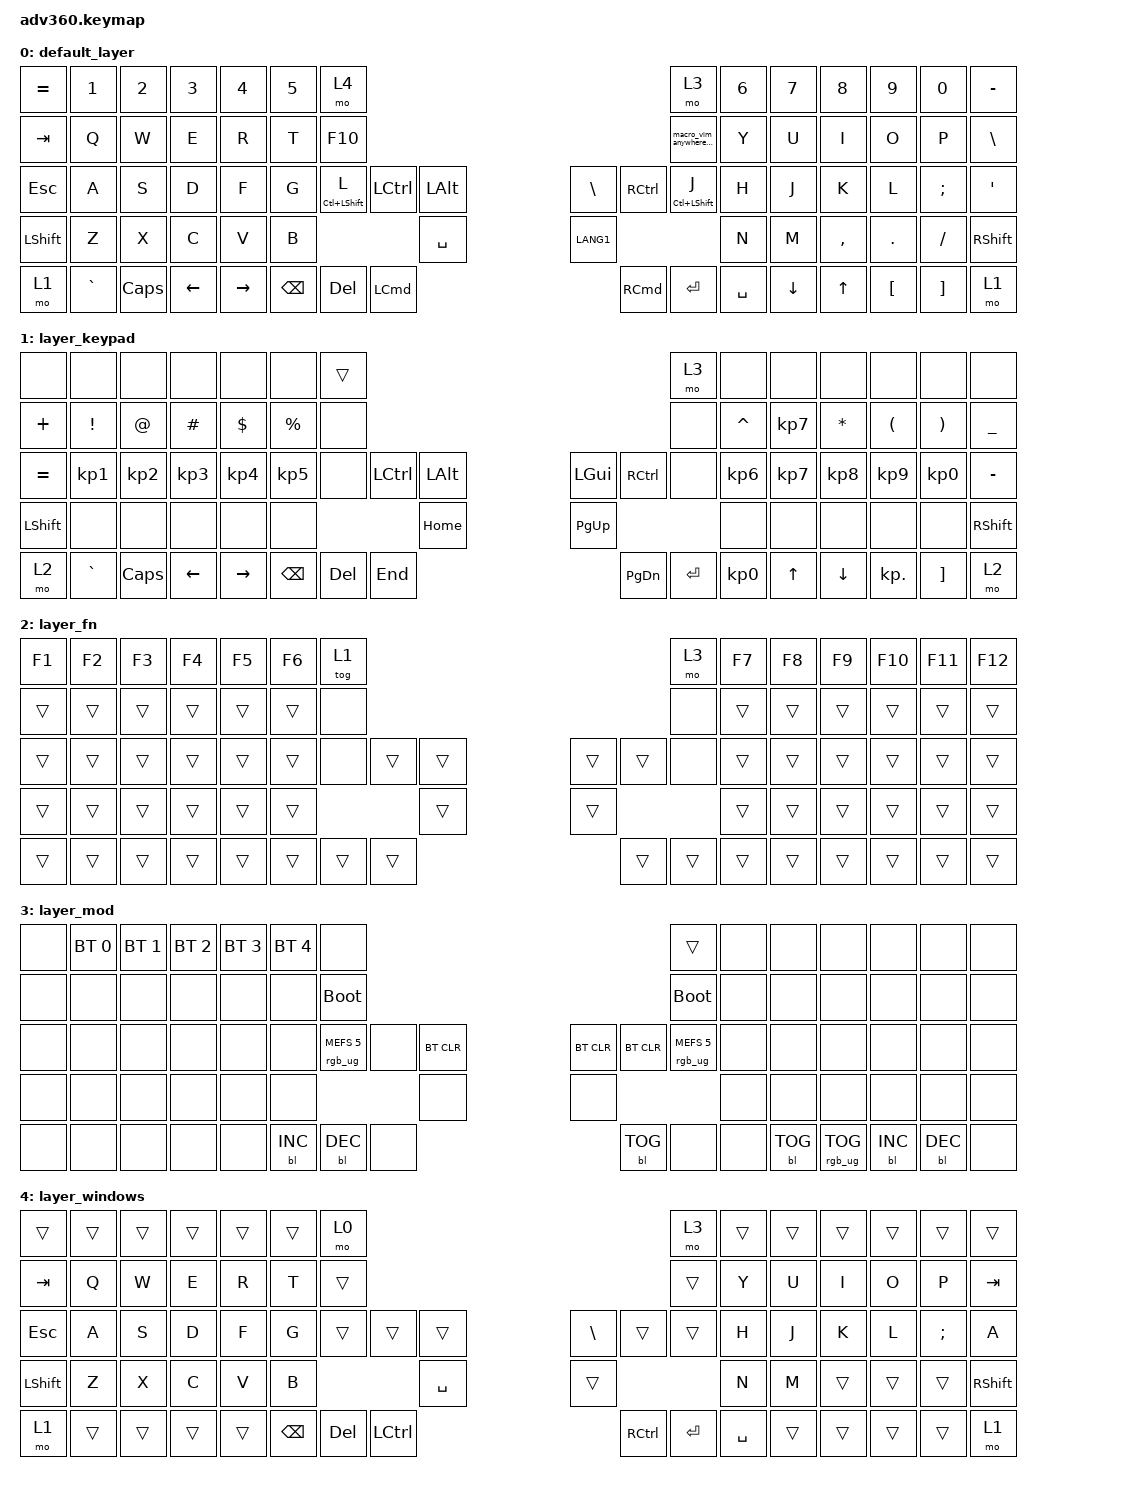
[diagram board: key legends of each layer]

/*
 * Copyright (c) 2020 The ZMK Contributors
 *
 * SPDX-License-Identifier: MIT
 */


/* THIS FILE WAS GENERATED!
 *
 * This file was generated automatically. You may or may not want to
 * edit it directly.
 */

#include <behaviors.dtsi>
#include <dt-bindings/zmk/keys.h>
#include <dt-bindings/zmk/bt.h>
#include <dt-bindings/zmk/rgb.h>
#include <dt-bindings/zmk/backlight.h>

/ {
  behaviors {
    #include "macros.dtsi"
    #include "version.dtsi"

    hm: homerow_mods {
        compatible = "zmk,behavior-hold-tap";
        label = "HOMEROW_MODS";
        #binding-cells = <2>;
        tapping-term-ms = <200>;
        quick_tap_ms = <175>;
        flavor = "tap-preferred";
        bindings = <&kp>, <&kp>;
    };
  };

    keymap {
        compatible = "zmk,keymap";


        default_layer {
            bindings = <
 &kp EQUAL     &kp N1    &kp N2    &kp N3     &kp N4  &kp N5                           &mo 4                                                                                              &mo 3  &kp N6    &kp N7     &kp N8    &kp N9    &kp N0  &kp MINUS
   &kp TAB      &kp Q     &kp W     &kp E      &kp R   &kp T                         &kp F10                                                                             &macro_vim_anywhere_on   &kp Y     &kp U      &kp I     &kp O     &kp P   &kp BSLH
   &kp ESC      &kp A     &kp S     &kp D      &kp F   &kp G            &mt LC(LEFT_SHIFT) L  &kp LCTRL          &kp LALT                           &kp BSLH  &kp RCTRL    &mt LC(LEFT_SHIFT) J   &kp H     &kp J      &kp K     &kp L  &kp SEMI    &kp SQT
 &kp LSHFT      &kp Z     &kp X     &kp C      &kp V   &kp B                                                    &kp SPACE                          &kp LANG1                                      &kp N     &kp M  &kp COMMA   &kp DOT  &kp FSLH  &kp RSHFT
     &mo 1  &kp GRAVE  &kp CAPS  &kp LEFT  &kp RIGHT                                &kp BSPC    &kp DEL  &kp LEFT_COMMAND                  &kp RIGHT_COMMAND  &kp ENTER               &kp SPACE          &kp DOWN     &kp UP  &kp LBKT  &kp RBKT      &mo 1
            >;
        };

        layer_keypad {
            bindings = <
     &none            &none      &none      &none       &none        &none              &trans                                                                 &mo 3      &none      &none         &none                 &none                  &none      &none
  &kp PLUS  &kp EXCLAMATION     &kp AT   &kp HASH  &kp DOLLAR  &kp PERCENT               &none                                                                 &none  &kp CARET  &kp KP_N7  &kp ASTERISK  &kp LEFT_PARENTHESIS  &kp RIGHT_PARENTHESIS  &kp UNDER
 &kp EQUAL  &kp KP_NUMBER_1  &kp KP_N2  &kp KP_N3   &kp KP_N4    &kp KP_N5               &none  &kp LCTRL  &kp LALT                   &kp LGUI  &kp RCTRL      &none  &kp KP_N6  &kp KP_N7     &kp KP_N8             &kp KP_N9              &kp KP_N0  &kp MINUS
 &kp LSHFT            &none      &none      &none       &none        &none                                 &kp HOME                  &kp PG_UP                            &none      &none         &none                 &none                  &none  &kp RSHFT
     &mo 2        &kp GRAVE   &kp CAPS   &kp LEFT   &kp RIGHT                         &kp BSPC    &kp DEL   &kp END                  &kp PG_DN  &kp ENTER  &kp KP_N0                &kp UP      &kp DOWN            &kp KP_DOT               &kp RBKT      &mo 2
            >;
        };

        layer_fn {
            bindings = <
 &kp F1  &kp F2  &kp F3  &kp F4  &kp F5  &kp F6            &tog 1                                                   &mo 3  &kp F7  &kp F8  &kp F9  &kp F10  &kp F11  &kp F12
 &trans  &trans  &trans  &trans  &trans  &trans             &none                                                   &none  &trans  &trans  &trans   &trans   &trans   &trans
 &trans  &trans  &trans  &trans  &trans  &trans             &none  &trans  &trans                  &trans  &trans   &none  &trans  &trans  &trans   &trans   &trans   &trans
 &trans  &trans  &trans  &trans  &trans  &trans                            &trans                  &trans                  &trans  &trans  &trans   &trans   &trans   &trans
 &trans  &trans  &trans  &trans  &trans                    &trans  &trans  &trans                  &trans  &trans  &trans          &trans  &trans   &trans   &trans   &trans
            >;
        };

        layer_mod {
            bindings = <
  &none  &bt BT_SEL 0  &bt BT_SEL 1  &bt BT_SEL 2  &bt BT_SEL 3  &bt BT_SEL 4                             &none                                                                                  &trans   &none       &none            &none       &none       &none   &none
  &none         &none         &none         &none         &none         &none                       &bootloader                                                                             &bootloader   &none       &none            &none       &none       &none   &none
  &none         &none         &none         &none         &none         &none            &rgb_ug RGB_MEFS_CMD 5       &none  &bt BT_CLR                  &bt BT_CLR  &bt BT_CLR  &rgb_ug RGB_MEFS_CMD 5   &none       &none            &none       &none       &none   &none
  &none         &none         &none         &none         &none         &none                                                     &none                       &none                                       &none       &none            &none       &none       &none   &none
  &none         &none         &none         &none         &none                                      &bl BL_INC  &bl BL_DEC       &none                  &bl BL_TOG       &none                   &none          &bl BL_TOG  &rgb_ug RGB_TOG  &bl BL_INC  &bl BL_DEC   &none
            >;
        };

        layer_windows {
            bindings = <
         &trans  &trans  &trans  &trans  &trans  &trans                    &mo 0                                                                   &mo 3  &trans  &trans  &trans  &trans         &trans           &trans
        &kp TAB   &kp Q   &kp W   &kp E   &kp R   &kp T                   &trans                                                                  &trans   &kp Y   &kp U   &kp I   &kp O          &kp P          &kp TAB
        &kp ESC   &kp A   &kp S   &kp D   &kp F   &kp G                   &trans      &trans     &trans                   &kp BSLH     &trans     &trans   &kp H   &kp J   &kp K   &kp L  &kp SEMICOLON            &kp A
 &kp LEFT_SHIFT   &kp Z   &kp X   &kp C   &kp V   &kp B                                       &kp SPACE                     &trans                         &kp N   &kp M  &trans  &trans         &trans  &kp RIGHT_SHIFT
          &mo 1  &trans  &trans  &trans  &trans                    &kp BACKSPACE  &kp DELETE  &kp LCTRL                  &kp RCTRL  &kp ENTER  &kp SPACE          &trans  &trans  &trans         &trans            &mo 1
            >;
        };

    };
};
